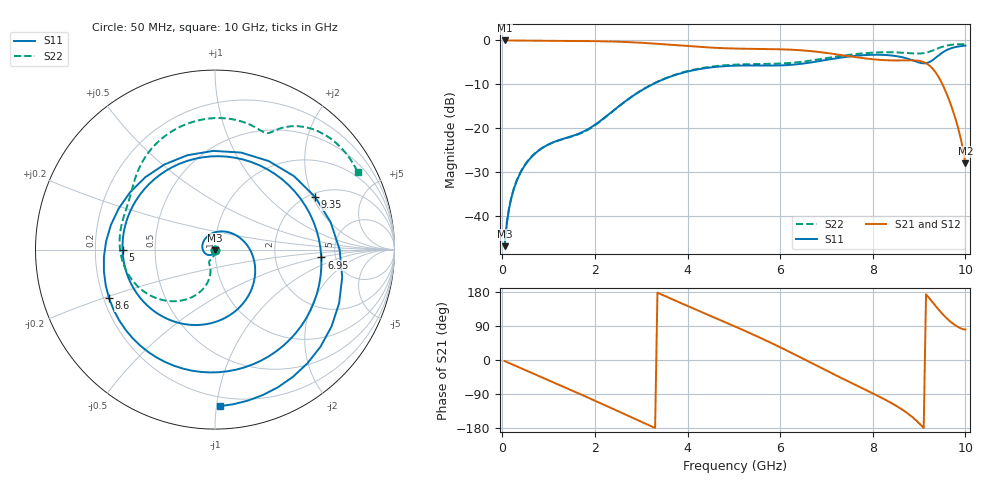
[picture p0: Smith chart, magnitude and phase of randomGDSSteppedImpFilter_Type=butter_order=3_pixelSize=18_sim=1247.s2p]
! freq	dB(S11)	phase(S11)	dB(S12)	phase(S12)
!  dB(S21)	phase(S21)	dB(S22)	phase(S22)
!S-par simulation data
#  GHz  S  DB  R 50
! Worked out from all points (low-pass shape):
!   200 points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, 50 MHz to 10 GHz, reference 50 ohm
!   highest |S21| = -0.02 dB at 50 MHz (marker M1); lowest = -27.9 dB at 10 GHz (marker M2)
!   |S21| within 3 dB of the highest: start of sweep to 7.115 GHz
!   lowest |S11| = -46.8 dB at 50 MHz (marker M3), VSWR 1.01, Z = 50.1 - j0.449 ohm
!   |S11| at or under -10 dB: start of sweep to 3.241 GHz
!   |S22| runs from -46.5 to -0.9 dB; largest |S21 - S12| = 0
!   S11 on the Smith chart (normalised r, x): 50 MHz: 1.00, -0.01; 5 GHz: 0.32, -0.00; 6.95 GHz: 3.85, -0.52; 8.6 GHz: 0.22, -0.21; 9.35 GHz: 2.15, +2.09; 10 GHz: 0.14, -1.02
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0.05  -46.78 -77.9  -0.02 -2.7  -0.02 -2.7  -46.50 -76.0
0.2  -35.62 -102.0  -0.03 -10.7  -0.03 -10.7  -35.47 -92.4
0.5  -28.21 -129.1  -0.05 -26.7  -0.05 -26.7  -28.09 -104.0
1.15  -22.96 171.3  -0.09 -61.4  -0.09 -61.4  -22.99 -115.9
1.75  -20.74 100.2  -0.14 -93.7  -0.14 -93.7  -20.88 -109.4
2.65  -13.90 -3.7  -0.36 -143.4  -0.36 -143.4  -13.91 -104.0
3.4  -9.21 -65.7  -0.82 174.9  -0.82 174.9  -9.15 -125.0
4.2  -6.63 -122.7  -1.44 132.0  -1.44 132.0  -6.50 -153.5
5  -5.76 -179.8  -1.85 89.8  -1.85 89.8  -5.52 179.9
5.05  -5.74 176.4  -1.86 87.1  -1.86 87.1  -5.50 178.3
6  -5.69 93.0  -2.03 33.6  -2.03 33.6  -5.26 154.0
6.7  -4.96 20.8  -2.48 -9.4  -2.48 -9.4  -4.53 138.8
6.95  -4.52 -4.2  -2.78 -24.9  -2.78 -24.9  -4.11 132.3
7.7  -3.44 -71.4  -3.91 -70.1  -3.91 -70.1  -3.03 108.3
8.35  -3.38 -127.9  -4.53 -110.1  -4.53 -110.1  -2.69 85.0
8.6  -3.75 -155.3  -4.55 -128.0  -4.55 -128.0  -2.77 76.5
8.85  -4.49 166.7  -4.52 -150.1  -4.52 -150.1  -2.95 69.5
9.1  -5.23 106.3  -4.94 -179.6  -4.94 -179.6  -2.90 65.2
9.35  -4.01 27.6  -7.17 143.6  -7.17 143.6  -2.06 60.0
9.5  -2.79 -12.2  -9.89 122.1  -9.89 122.1  -1.46 53.9
9.7  -1.76 -50.9  -15.04 99.1  -15.04 99.1  -0.98 43.8
10  -1.18 -88.2  -27.90 80.2  -27.90 80.2  -0.87 28.6
